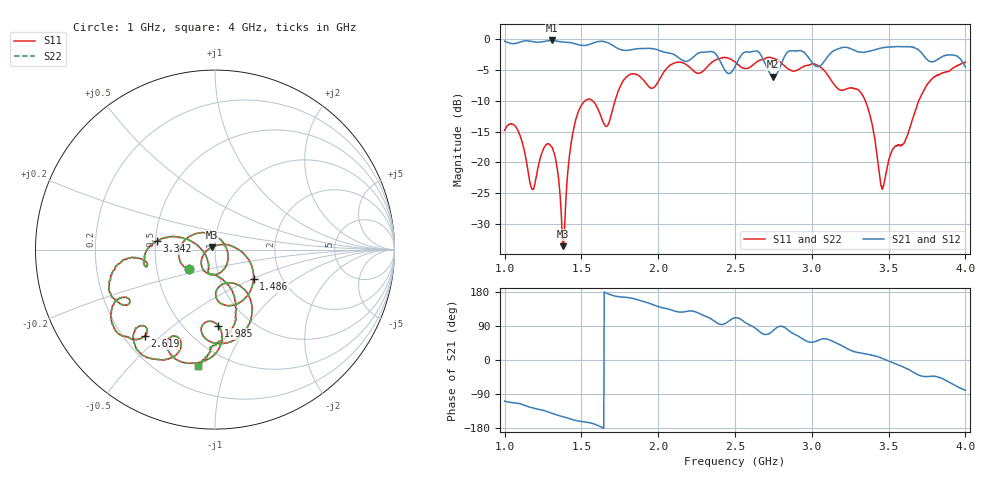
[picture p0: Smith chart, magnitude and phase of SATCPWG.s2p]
# MHz S MA R 50
!  freq  S11  S21  S12  S22
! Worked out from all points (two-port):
!   1000 points, 1 GHz to 4 GHz, reference 50 ohm
!   highest |S21| = -0.18 dB at 1.309 GHz (marker M1); lowest = -6.1 dB at 2.748 GHz (marker M2)
!   |S21| within 3 dB of the highest: start of sweep to 2.144 GHz; 3.092 GHz to 3.746 GHz (654 MHz wide, 19.1 % of centre)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
!   lowest |S11| = -33.6 dB at 1.378 GHz (marker M3), VSWR 1.04, Z = 48.4 + j1.3 ohm
!   |S11| at or under -10 dB: start of sweep to 1.523 GHz; 1.573 GHz to 1.719 GHz (145.5 MHz wide, 8.84 % of centre); 3.348 GHz to 3.696 GHz (347.8 MHz wide, 9.87 % of centre)
!   |S22| runs from -33.6 to -2.9 dB; largest |S21 - S12| = 0.0098
!   S11 on the Smith chart (normalised r, x): 1 GHz: 0.73, -0.16; 1.486 GHz: 1.44, -0.51; 1.985 GHz: 0.72, -0.74; 2.619 GHz: 0.28, -0.44; 3.342 GHz: 0.51, +0.06; 4 GHz: 0.35, -0.80
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1000  0.1823 -143.7  0.9662 -108.6  0.967 -108.6  0.1824 -143.9
1180.18  0.06026 38.9  0.9598 -126.5  0.9599 -126.4  0.06017 38.7
1309.309  0.1323 -118.4  0.9794 -140.9  0.9791 -140.9  0.1324 -118.7
1378.378  0.02085 140.1  0.9517 -149.6  0.9517 -149.6  0.02224 139.1
1486.486  0.2693 -37.1  0.9006 -161.5  0.9002 -161.6  0.2708 -37.4
1501.502  0.2932 -45.6  0.8938 -162.4  0.8937 -162.4  0.2939 -45.8
1663.664  0.1962 -72.5  0.9469 176.6  0.9479 176.5  0.196 -72.5
1798.799  0.5016 -73.9  0.8129 165.1  0.814 164.9  0.5029 -73.9
1984.985  0.4245 -87.6  0.8309 143.1  0.8312 143.0  0.4239 -87.7
2000  0.4522 -85.9  0.8178 141.0  0.8182 141.2  0.4528 -85.7
2408.408  0.7032 -120.0  0.6441 93.8  0.6441 93.7  0.7035 -120.1
2501.502  0.6532 -134.0  0.6058 111.8  0.6055 111.6  0.6537 -133.9
2618.619  0.621 -129.1  0.7988 87.8  0.7995 87.8  0.6212 -129.2
2747.748  0.7014 -145.0  0.4976 77.5  0.4974 77.4  0.7018 -145.1
2852.853  0.5684 -152.1  0.8019 76.4  0.8027 76.5  0.5687 -152.2
3000  0.6324 -155.5  0.6541 47.0  0.6551 47.0  0.6334 -155.4
3144.144  0.432 -173.6  0.8092 47.7  0.8097 47.7  0.4325 -173.8
3342.342  0.3285 171.5  0.7858 16.8  0.7856 16.7  0.3285 171.2
3453.453  0.06449 -164.0  0.8495 5.1  0.8489 5.5  0.0635 -163.7
3501.502  0.1056 -109.9  0.8669 -3.0  0.8653 -2.9  0.104 -110.2
3690.691  0.3047 -68.6  0.8313 -38.9  0.8276 -39.1  0.3031 -68.4
4000  0.6537 -98.2  0.5957 -79.8  0.5942 -79.6  0.6541 -98.2
